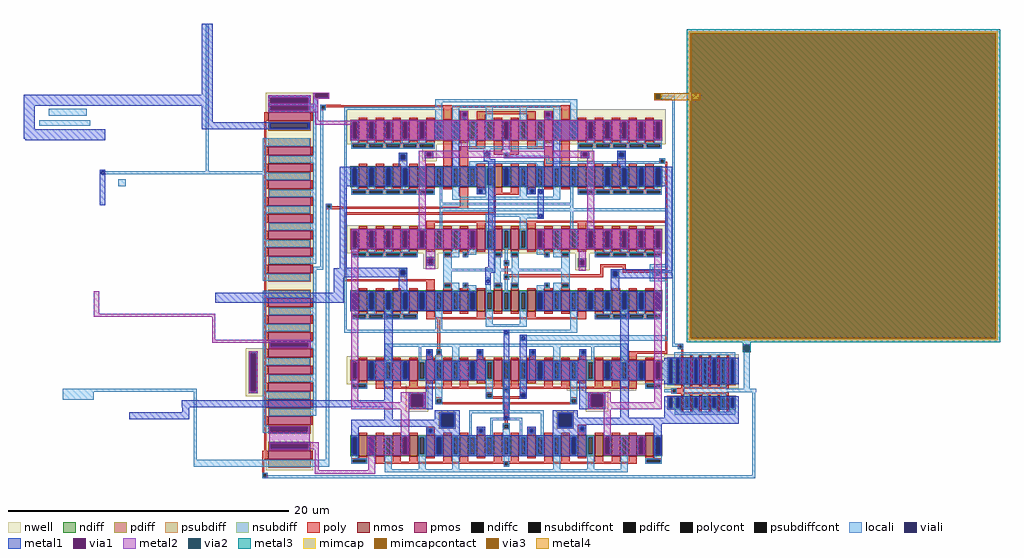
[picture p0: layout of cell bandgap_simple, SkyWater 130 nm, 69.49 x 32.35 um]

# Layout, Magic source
magic
tech sky130A
magscale 1 2
<< nwell >>
rect 4910 -4470 5590 -830
rect 4630 -5150 5590 -4470
rect 4910 -6210 5590 -5150
<< pmos >>
rect 4950 -1230 5550 -1110
rect 4950 -1720 5550 -1600
rect 4950 -1960 5550 -1840
rect 4950 -2200 5550 -2080
rect 4950 -2440 5550 -2320
rect 4950 -2680 5550 -2560
rect 4950 -2920 5550 -2800
rect 4950 -3160 5550 -3040
rect 4950 -3400 5550 -3280
rect 4950 -3880 5550 -3760
rect 4950 -4120 5550 -4000
rect 4950 -4360 5550 -4240
rect 4950 -4600 5550 -4480
rect 4950 -4840 5550 -4720
rect 4950 -5080 5550 -4960
rect 4950 -5320 5550 -5200
rect 4950 -5560 5550 -5440
rect 4950 -6050 5550 -5930
<< pdiff >>
rect 4950 -1110 5550 -1000
rect 4950 -1370 5550 -1230
rect 4950 -1600 5550 -1480
rect 4950 -1840 5550 -1720
rect 4950 -2080 5550 -1960
rect 4950 -2320 5550 -2200
rect 4950 -2560 5550 -2440
rect 4950 -2800 5550 -2680
rect 4950 -3040 5550 -2920
rect 4950 -3280 5550 -3160
rect 4950 -3520 5550 -3400
rect 4950 -3760 5550 -3640
rect 4950 -4000 5550 -3880
rect 4950 -4240 5550 -4120
rect 4950 -4480 5550 -4360
rect 4950 -4720 5550 -4600
rect 4950 -4960 5550 -4840
rect 4950 -5200 5550 -5080
rect 4950 -5440 5550 -5320
rect 4950 -5690 5550 -5560
rect 4950 -5930 5550 -5800
rect 4950 -6170 5550 -6050
<< nsubdiff >>
rect 4950 -900 5550 -870
rect 4950 -980 4980 -900
rect 5520 -980 5550 -900
rect 4950 -1000 5550 -980
rect 4670 -4540 4800 -4510
rect 4670 -5080 4690 -4540
rect 4770 -5080 4800 -4540
rect 4670 -5110 4800 -5080
<< nsubdiffcont >>
rect 4980 -980 5520 -900
rect 4690 -5080 4770 -4540
<< poly >>
rect 5690 -1020 5980 -1000
rect 5690 -1060 5710 -1020
rect 5750 -1040 5980 -1020
rect 5750 -1060 5770 -1040
rect 5690 -1080 5770 -1060
rect 4890 -1230 4950 -1110
rect 5550 -1230 5580 -1110
rect 4890 -1600 4920 -1230
rect 4890 -1720 4950 -1600
rect 5550 -1720 5580 -1600
rect 4890 -1840 4920 -1720
rect 4890 -1960 4950 -1840
rect 5550 -1960 5580 -1840
rect 4890 -2080 4920 -1960
rect 4890 -2200 4950 -2080
rect 5550 -2200 5580 -2080
rect 4890 -2320 4920 -2200
rect 4890 -2440 4950 -2320
rect 5550 -2440 5580 -2320
rect 5770 -2430 5850 -2410
rect 4890 -2560 4920 -2440
rect 5770 -2470 5790 -2430
rect 5830 -2450 5850 -2430
rect 5830 -2470 5990 -2450
rect 5770 -2490 5990 -2470
rect 4890 -2680 4950 -2560
rect 5550 -2680 5580 -2560
rect 4890 -2800 4920 -2680
rect 4890 -2920 4950 -2800
rect 5550 -2920 5580 -2800
rect 4890 -3040 4920 -2920
rect 4890 -3160 4950 -3040
rect 5550 -3160 5580 -3040
rect 4890 -3280 4920 -3160
rect 4890 -3400 4950 -3280
rect 5550 -3400 5580 -3280
rect 4890 -3760 4920 -3400
rect 4890 -3880 4950 -3760
rect 5550 -3880 5580 -3760
rect 4890 -4000 4920 -3880
rect 4890 -4120 4950 -4000
rect 5550 -4120 5580 -4000
rect 4890 -4240 4920 -4120
rect 4890 -4360 4950 -4240
rect 5550 -4360 5580 -4240
rect 4890 -4480 4920 -4360
rect 4890 -4600 4950 -4480
rect 5550 -4600 5580 -4480
rect 4890 -4720 4920 -4600
rect 4890 -4840 4950 -4720
rect 5550 -4840 5580 -4720
rect 4890 -4960 4920 -4840
rect 4890 -5080 4950 -4960
rect 5550 -5080 5580 -4960
rect 4890 -5200 4920 -5080
rect 4890 -5320 4950 -5200
rect 5550 -5320 5580 -5200
rect 4890 -5440 4920 -5320
rect 4890 -5560 4950 -5440
rect 5550 -5560 5580 -5440
rect 4890 -5930 4920 -5560
rect 4860 -6050 4950 -5930
rect 5550 -6050 5580 -5930
rect 4860 -6240 4890 -6050
rect 4860 -6260 4940 -6240
rect 4860 -6300 4880 -6260
rect 4920 -6300 4940 -6260
rect 4860 -6320 4940 -6300
<< polycont >>
rect 5710 -1060 5750 -1020
rect 5790 -2470 5830 -2430
rect 4880 -6300 4920 -6260
<< locali >>
rect 1820 -1160 2360 -1060
rect 1690 -1300 2410 -1220
rect 4060 -1950 4100 150
rect 5590 -850 5820 -830
rect 4960 -900 5540 -880
rect 4960 -980 4980 -900
rect 5520 -980 5540 -900
rect 4960 -1020 5540 -980
rect 4960 -1080 4980 -1020
rect 5520 -1080 5540 -1020
rect 4960 -1100 5540 -1080
rect 5590 -900 5620 -850
rect 5800 -900 5820 -850
rect 5590 -920 5820 -900
rect 5590 -990 5650 -920
rect 4960 -1260 5540 -1250
rect 4960 -1340 4980 -1260
rect 5520 -1340 5540 -1260
rect 4960 -1350 5540 -1340
rect 4870 -1590 5540 -1480
rect 4870 -1950 4910 -1590
rect 5590 -1730 5630 -990
rect 4960 -1830 5630 -1730
rect 2610 -1970 4910 -1950
rect 2610 -1990 5540 -1970
rect 2810 -2160 2920 -2060
rect 4870 -2070 5540 -1990
rect 4870 -2450 4910 -2070
rect 5590 -2210 5630 -1830
rect 4960 -2310 5630 -2210
rect 4870 -2550 5540 -2450
rect 4870 -2930 4910 -2550
rect 5590 -2690 5630 -2310
rect 4960 -2790 5630 -2690
rect 4870 -3030 5540 -2930
rect 4870 -3410 4910 -3030
rect 5590 -3170 5630 -2790
rect 4960 -3270 5630 -3170
rect 5690 -1020 5770 -1000
rect 5690 -1060 5710 -1020
rect 5750 -1060 5770 -1020
rect 5690 -1080 5770 -1060
rect 5690 -3310 5730 -1080
rect 5590 -3350 5730 -3310
rect 5770 -2430 5850 -2410
rect 5770 -2470 5790 -2430
rect 5830 -2470 5850 -2430
rect 5770 -2490 5850 -2470
rect 4870 -3510 5540 -3410
rect 4870 -3750 5540 -3650
rect 4870 -4130 4910 -3750
rect 5590 -3890 5630 -3350
rect 4960 -3990 5630 -3890
rect 4870 -4230 5540 -4130
rect 4670 -4540 4790 -4520
rect 2020 -5090 3930 -5050
rect 2020 -5200 2460 -5090
rect 3890 -6060 3930 -5090
rect 4670 -5080 4690 -4540
rect 4770 -5080 4790 -4540
rect 4670 -5100 4790 -5080
rect 4870 -4610 4910 -4230
rect 5590 -4370 5630 -3990
rect 4960 -4390 5630 -4370
rect 4960 -4450 4980 -4390
rect 5520 -4450 5630 -4390
rect 4960 -4470 5630 -4450
rect 4870 -4710 5540 -4610
rect 4870 -5090 4910 -4710
rect 5590 -4850 5630 -4470
rect 4960 -4950 5630 -4850
rect 4870 -5190 5540 -5090
rect 4870 -5570 4910 -5190
rect 5590 -5330 5630 -4950
rect 4960 -5430 5630 -5330
rect 4870 -5590 5540 -5570
rect 4870 -5660 4970 -5590
rect 5510 -5660 5540 -5590
rect 4870 -5670 5540 -5660
rect 4960 -5680 5540 -5670
rect 4960 -5830 5540 -5810
rect 4960 -5900 4980 -5830
rect 5520 -5900 5540 -5830
rect 4960 -5920 5540 -5900
rect 5770 -6060 5820 -2490
rect 3890 -6160 5820 -6060
rect 4860 -6260 4940 -6240
rect 4860 -6300 4880 -6260
rect 4920 -6280 4940 -6260
rect 11840 -6280 11880 -5050
rect 4920 -6300 11880 -6280
rect 4860 -6320 11880 -6300
<< viali >>
rect 4980 -980 5520 -900
rect 4980 -1080 5520 -1020
rect 5620 -900 5800 -850
rect 4980 -1340 5520 -1260
rect 2570 -1990 2610 -1950
rect 4690 -5080 4770 -4540
rect 4980 -4450 5520 -4390
rect 4970 -5660 5510 -5590
rect 4980 -5900 5520 -5830
<< metal1 >>
rect 4000 -860 4160 150
rect 1470 -1020 4160 -860
rect 5590 -840 5820 -830
rect 1470 -1350 1620 -1020
rect 4000 -1250 4160 -1020
rect 4950 -900 5550 -870
rect 4950 -980 4980 -900
rect 5520 -980 5550 -900
rect 4950 -990 5550 -980
rect 5590 -900 5620 -840
rect 5800 -900 5820 -840
rect 5590 -920 5820 -900
rect 5590 -990 5660 -920
rect 4950 -1020 5660 -990
rect 4950 -1080 4980 -1020
rect 5520 -1080 5660 -1020
rect 4950 -1110 5660 -1080
rect 4000 -1260 5540 -1250
rect 4000 -1340 4980 -1260
rect 5520 -1340 5540 -1260
rect 4000 -1350 5540 -1340
rect 1470 -1490 2630 -1350
rect 1490 -1510 2630 -1490
rect 2550 -1950 2630 -1930
rect 2550 -1990 2570 -1950
rect 2610 -1990 2630 -1950
rect 2550 -2430 2630 -1990
rect 5880 -3680 6020 -3330
rect 4190 -3820 6020 -3680
rect 4960 -4390 5550 -4370
rect 4960 -4450 4980 -4390
rect 5520 -4450 5550 -4390
rect 4960 -4470 5550 -4450
rect 4670 -4540 4800 -4510
rect 4670 -5080 4690 -4540
rect 4770 -5080 4800 -4540
rect 4670 -5110 4800 -5080
rect 3719 -5210 5782 -5208
rect 3719 -5310 6720 -5210
rect 3719 -5311 5782 -5310
rect 3720 -5380 3820 -5311
rect 2970 -5480 3820 -5380
rect 4960 -5590 5540 -5570
rect 4960 -5660 4970 -5590
rect 5510 -5660 5540 -5590
rect 4960 -5680 5540 -5660
rect 4960 -5830 5540 -5810
rect 4960 -5900 4980 -5830
rect 5520 -5900 5540 -5830
rect 4960 -5920 5540 -5900
<< via1 >>
rect 4980 -980 5520 -900
rect 5620 -850 5800 -840
rect 5620 -900 5800 -850
rect 4980 -1080 5520 -1020
rect 4980 -4450 5520 -4390
rect 4690 -5080 4770 -4540
rect 4970 -5660 5510 -5590
rect 4980 -5900 5520 -5830
<< metal2 >>
rect 5590 -840 5820 -830
rect 4950 -900 5550 -870
rect 4950 -980 4980 -900
rect 5520 -980 5550 -900
rect 4950 -990 5550 -980
rect 5590 -900 5620 -840
rect 5800 -900 5820 -840
rect 5590 -920 5820 -900
rect 5590 -990 5660 -920
rect 4950 -1020 5660 -990
rect 4950 -1080 4980 -1020
rect 5520 -1080 5660 -1020
rect 4950 -1110 5660 -1080
rect 5620 -1230 5660 -1110
rect 5620 -1290 6140 -1230
rect 2460 -3980 2540 -3660
rect 2460 -4020 4190 -3980
rect 4150 -4350 4190 -4020
rect 4150 -4390 5550 -4350
rect 4960 -4450 4980 -4390
rect 5520 -4450 5550 -4390
rect 4960 -4470 5550 -4450
rect 4670 -4540 4800 -4510
rect 4670 -5080 4690 -4540
rect 4770 -5080 4800 -4540
rect 4670 -5110 4800 -5080
rect 4960 -5590 5540 -5570
rect 4960 -5660 4970 -5590
rect 5510 -5660 5540 -5590
rect 4960 -5810 5540 -5660
rect 4960 -5830 5670 -5810
rect 4960 -5900 4980 -5830
rect 5520 -5900 5670 -5830
rect 4960 -5910 5670 -5900
rect 4960 -5920 5540 -5910
rect 5610 -6210 5670 -5910
rect 6370 -6210 6470 -5720
rect 5610 -6260 6470 -6210
use selfbiasedcascode2stage  selfbiasedcascode2stage_0
transform 1 0 6478 0 1 -10866
box -510 4630 8890 10940
<< end >>

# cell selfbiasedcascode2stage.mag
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
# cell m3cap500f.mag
magic
tech sky130A
<< metal3 >>
rect -115 -15 2115 2215
<< mimcap >>
rect -100 2185 2100 2200
rect -100 15 -85 2185
rect 2085 15 2100 2185
rect -100 0 2100 15
<< mimcapcontact >>
rect -85 15 2085 2185
<< metal4 >>
rect -90 2185 2090 2190
rect -90 15 -85 2185
rect 2085 15 2090 2185
rect -90 10 2090 15
<< labels >>
rlabel metal3 2115 40 2115 40 3 2
rlabel mimcapcontact 1900 1945 1900 1945 3 1
<< end >>

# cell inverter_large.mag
magic
tech sky130A
<< nwell >>
rect -120 155 410 395
<< nmos >>
rect 0 0 15 100
rect 65 0 80 100
rect 130 0 145 100
rect 195 0 210 100
rect 260 0 275 100
rect 325 0 340 100
<< pmos >>
rect 0 175 15 375
rect 65 175 80 375
rect 130 175 145 375
rect 195 175 210 375
rect 260 175 275 375
rect 325 175 340 375
<< ndiff >>
rect -50 85 0 100
rect -50 15 -35 85
rect -15 15 0 85
rect -50 0 0 15
rect 15 85 65 100
rect 15 15 30 85
rect 50 15 65 85
rect 15 0 65 15
rect 80 85 130 100
rect 80 15 95 85
rect 115 15 130 85
rect 80 0 130 15
rect 145 85 195 100
rect 145 15 160 85
rect 180 15 195 85
rect 145 0 195 15
rect 210 85 260 100
rect 210 15 225 85
rect 245 15 260 85
rect 210 0 260 15
rect 275 85 325 100
rect 275 15 290 85
rect 310 15 325 85
rect 275 0 325 15
rect 340 85 390 100
rect 340 15 355 85
rect 375 15 390 85
rect 340 0 390 15
<< pdiff >>
rect -50 360 0 375
rect -50 190 -35 360
rect -15 190 0 360
rect -50 175 0 190
rect 15 360 65 375
rect 15 190 30 360
rect 50 190 65 360
rect 15 175 65 190
rect 80 360 130 375
rect 80 190 95 360
rect 115 190 130 360
rect 80 175 130 190
rect 145 360 195 375
rect 145 190 160 360
rect 180 190 195 360
rect 145 175 195 190
rect 210 360 260 375
rect 210 190 225 360
rect 245 190 260 360
rect 210 175 260 190
rect 275 360 325 375
rect 275 190 290 360
rect 310 190 325 360
rect 275 175 325 190
rect 340 360 390 375
rect 340 190 355 360
rect 375 190 390 360
rect 340 175 390 190
<< ndiffc >>
rect -35 15 -15 85
rect 30 15 50 85
rect 95 15 115 85
rect 160 15 180 85
rect 225 15 245 85
rect 290 15 310 85
rect 355 15 375 85
<< pdiffc >>
rect -35 190 -15 360
rect 30 190 50 360
rect 95 190 115 360
rect 160 190 180 360
rect 225 190 245 360
rect 290 190 310 360
rect 355 190 375 360
<< psubdiff >>
rect -100 85 -50 100
rect -100 15 -85 85
rect -65 15 -50 85
rect -100 0 -50 15
<< nsubdiff >>
rect -100 360 -50 375
rect -100 190 -85 360
rect -65 190 -50 360
rect -100 175 -50 190
<< psubdiffcont >>
rect -85 15 -65 85
<< nsubdiffcont >>
rect -85 190 -65 360
<< poly >>
rect 0 375 15 390
rect 65 375 80 390
rect 130 375 145 390
rect 195 375 210 390
rect 260 375 275 390
rect 325 375 340 390
rect 0 165 15 175
rect 65 165 80 175
rect 130 165 145 175
rect 195 165 210 175
rect 260 165 275 175
rect 325 165 340 175
rect 0 155 340 165
rect -70 150 340 155
rect -70 145 15 150
rect -70 125 -60 145
rect -40 125 15 145
rect -70 115 340 125
rect 0 110 340 115
rect 0 100 15 110
rect 65 100 80 110
rect 130 100 145 110
rect 195 100 210 110
rect 260 100 275 110
rect 325 100 340 110
rect 0 -15 15 0
rect 65 -15 80 0
rect 130 -15 145 0
rect 195 -15 210 0
rect 260 -15 275 0
rect 325 -15 340 0
<< polycont >>
rect -60 125 -40 145
<< locali >>
rect -50 390 385 410
rect -50 370 -5 390
rect -95 360 -5 370
rect -95 190 -85 360
rect -65 190 -35 360
rect -15 190 -5 360
rect -95 180 -5 190
rect 20 360 60 370
rect 20 190 30 360
rect 50 190 60 360
rect 20 160 60 190
rect 85 360 125 390
rect 85 190 95 360
rect 115 190 125 360
rect 85 180 125 190
rect 150 360 190 370
rect 150 190 160 360
rect 180 190 190 360
rect 150 160 190 190
rect 215 360 255 390
rect 215 190 225 360
rect 245 190 255 360
rect 215 180 255 190
rect 280 360 320 370
rect 280 190 290 360
rect 310 190 320 360
rect 280 160 320 190
rect 345 360 385 390
rect 345 190 355 360
rect 375 190 385 360
rect 345 180 385 190
rect -70 145 -30 155
rect -120 125 -60 145
rect -40 125 -30 145
rect -70 115 -30 125
rect 20 150 320 160
rect 20 125 410 150
rect 20 115 320 125
rect -95 85 -5 95
rect -95 15 -85 85
rect -65 15 -35 85
rect -15 15 -5 85
rect -95 5 -5 15
rect 20 85 60 115
rect 20 15 30 85
rect 50 15 60 85
rect 20 5 60 15
rect 85 85 125 95
rect 85 15 95 85
rect 115 15 125 85
rect -45 -15 -5 5
rect 85 -15 125 15
rect 150 85 190 115
rect 150 15 160 85
rect 180 15 190 85
rect 150 5 190 15
rect 215 85 255 95
rect 215 15 225 85
rect 245 15 255 85
rect 215 -15 255 15
rect 280 85 320 115
rect 280 15 290 85
rect 310 15 320 85
rect 280 5 320 15
rect 345 85 385 95
rect 345 15 355 85
rect 375 15 385 85
rect 345 -15 385 15
rect -45 -35 385 -15
<< viali >>
rect -85 190 -65 360
rect -35 190 -15 360
rect 95 190 115 360
rect 225 190 245 360
rect 355 190 375 360
rect -85 15 -65 85
rect -35 15 -15 85
rect 95 15 115 85
rect 225 15 245 85
rect 355 15 375 85
<< metal1 >>
rect -120 360 410 370
rect -120 190 -85 360
rect -65 190 -35 360
rect -15 190 95 360
rect 115 190 225 360
rect 245 190 355 360
rect 375 190 410 360
rect -120 180 410 190
rect -120 85 410 95
rect -120 15 -85 85
rect -65 15 -35 85
rect -15 15 95 85
rect 115 15 225 85
rect 245 15 355 85
rect 375 15 410 85
rect -120 -100 410 15
<< labels >>
rlabel metal1 -120 275 -120 275 7 VDD
port 1 w
rlabel metal1 -120 -15 -120 -15 7 GND
port 2 w
rlabel locali -120 135 -120 135 7 A
port 3 w
rlabel locali 410 140 410 140 3 Y
port 4 e
<< end >>
